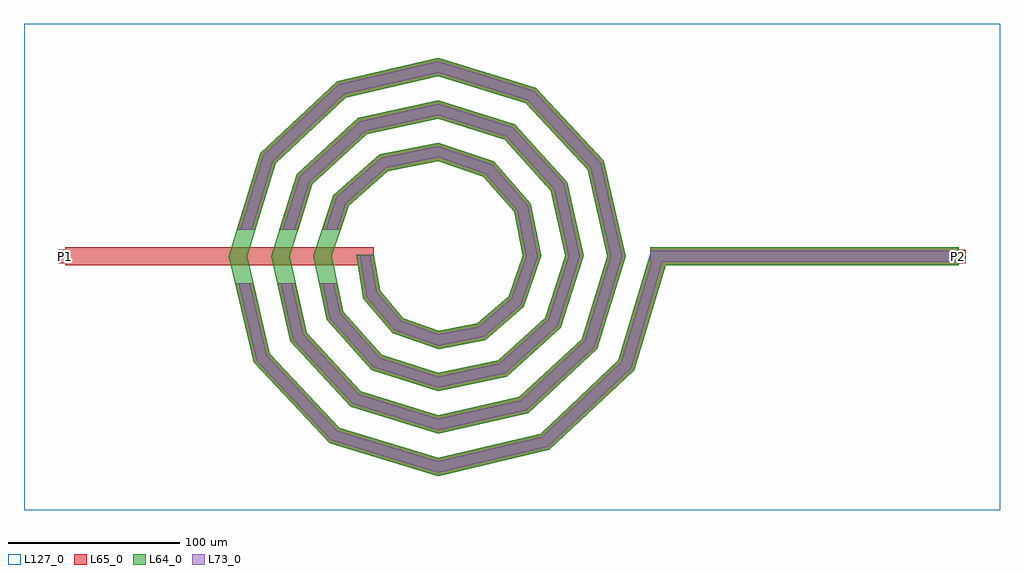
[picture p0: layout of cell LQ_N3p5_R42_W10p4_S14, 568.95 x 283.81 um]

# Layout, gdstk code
import gdstk
lib = gdstk.Library(unit=1e-6, precision=1e-09)
def R(c, l, rs):  # rectangles x0, y0, x1, y1
    for r in rs: c.add(gdstk.rectangle(r[:2], r[2:], *l))
def P(c, l, *ps):  # polygons
    for p in ps: c.add(gdstk.Polygon(p, *l))
L64_0 = (64, 0)
L65_0 = (65, 0)
L73_0 = (73, 0)
L127_0 = (127, 0)

lq_n3p5_r42_w10p4_s14 = lib.new_cell('LQ_N3p5_R42_W10p4_S14')
R(lq_n3p5_r42_w10p4_s14, L64_0, [(123.665,-5.2,303.665,5.2)])
P(lq_n3p5_r42_w10p4_s14, L64_0, [(-33.694,-19.987),(-20.231,-35.926),(0.424,-43.284),(23.022,-39.062),(41.241,-23.359),(49.451,0.376),(44.425,26.068),(26.478,46.562),(0.338,55.619),(-29.121,49.785),(-51.888,29.591),(-61.788,0.307),(-55.142,-32.18),(-32.699,-57.216),(0.281,-67.957),(35.244,-60.496),(62.547,-35.804),(74.126,0.26),(65.849,38.31),(38.906,67.88),(0.241,80.295),(-41.38,71.201),(-73.215,42.005),(-86.465,0.225),(-76.552,-44.451),(-45.103,-78.551),(0.211,-92.635),(47.524,-81.902),(83.887,-48.199),(98.804,0.198),(87.251,50.599),(51.294,89.225),(0.187,104.974),(-53.675,92.6),(-94.563,54.388),(-111.144,0.177),(-97.948,-56.751),(-57.48,-99.901),(0.168,-117.314),(59.829,-103.295),(105.241,-60.573),(123.885,1.496),(133.846,-1.496),(114.399,-66.236),(64.923,-112.781),(0.168,-128.076),(-63.158,-109.051),(-107.442,-61.831),(-121.906,0.177),(-103.702,60.081),(-58.737,102.103),(0.187,115.736),(57.005,98.353),(96.765,55.643),(109.565,0.198),(93.004,-53.929),(52.547,-91.427),(0.211,-103.395),(-50.855,-87.653),(-86.09,-49.45),(-97.224,0.225),(-82.302,47.783),(-46.351,80.753),(0.241,91.053),(44.712,76.949),(75.418,43.25),(84.882,0.26),(71.595,-41.643),(40.147,-70.084),(0.281,-78.711),(-38.578,-66.24),(-64.752,-37.04),(-72.54,0.307),(-60.881,35.516),(-33.929,59.422),(0.338,66.368),(32.458,55.52),(54.094,30.813),(60.196,0.376),(50.154,-29.408),(27.688,-48.77),(0.424,-54.022),(-26.365,-44.781),(-43.451,-24.552),(-47.605,0.899),(-37.361,0.899)])
R(lq_n3p5_r42_w10p4_s14, L65_0, [(-217.283,-5.2,-37.283,5.2), (123.665,-5.2,303.665,5.2), (-221.283,-4,-213.283,4), (299.665,-4,307.665,4)])
P(lq_n3p5_r42_w10p4_s14, L65_0, [(-97.948,-56.751),(-57.481,-99.902),(0.168,-117.314),(59.829,-103.295),(105.241,-60.573),(123.885,1.496),(133.846,-1.496),(114.399,-66.236),(64.923,-112.782),(0.168,-128.077),(-63.158,-109.051),(-107.442,-61.831),(-118.226,-15.6),(-107.547,-15.6)],
  [(-76.552,-44.451),(-45.103,-78.551),(0.211,-92.635),(47.524,-81.902),(83.887,-48.199),(98.805,0.198),(87.251,50.599),(51.294,89.225),(0.187,104.974),(-53.675,92.6),(-94.563,54.388),(-106.35,15.6),(-117.219,15.6),(-103.702,60.081),(-58.737,102.103),(0.187,115.736),(57.005,98.353),(96.765,55.643),(109.565,0.198),(93.004,-53.929),(52.547,-91.427),(0.211,-103.395),(-50.855,-87.653),(-86.09,-49.45),(-93.677,-15.6),(-83.019,-15.6)],
  [(-55.142,-32.18),(-32.7,-57.216),(0.282,-67.957),(35.244,-60.496),(62.547,-35.804),(74.126,0.26),(65.849,38.311),(38.906,67.88),(0.241,80.296),(-41.38,71.201),(-73.215,42.005),(-81.5,15.6),(-92.4,15.6),(-82.302,47.783),(-46.351,80.753),(0.241,91.053),(44.712,76.95),(75.418,43.25),(84.882,0.26),(71.595,-41.643),(40.147,-70.084),(0.282,-78.711),(-38.578,-66.24),(-64.752,-37.04),(-69.223,-15.6),(-58.599,-15.6)],
  [(-20.231,-35.926),(0.424,-43.284),(23.022,-39.062),(41.241,-23.359),(49.451,0.376),(44.425,26.068),(26.479,46.562),(0.338,55.619),(-29.121,49.785),(-51.888,29.591),(-56.521,15.6),(-67.476,15.6),(-60.881,35.516),(-33.929,59.422),(0.338,66.368),(32.458,55.52),(54.094,30.813),(60.196,0.376),(50.154,-29.408),(27.688,-48.77),(0.424,-54.022),(-26.365,-44.781),(-43.451,-24.552),(-47.605,0.899),(-37.362,0.899),(-33.694,-19.987)])
R(lq_n3p5_r42_w10p4_s14, L73_0, [(123.665,-3.2,303.665,3.2)])
P(lq_n3p5_r42_w10p4_s14, L73_0, [(-99.774,-57.728),(-58.572,-101.661),(0.104,-119.384),(60.809,-105.12),(107.002,-61.662),(125.801,0.921),(131.93,0.921),(112.637,-65.147),(63.944,-110.957),(0.104,-126.007),(-62.066,-107.291),(-105.616,-60.854),(-116.172,-15.6),(-109.6,-15.6)],
  [(-78.386,-45.413),(-46.209,-80.301),(0.13,-94.704),(48.49,-83.734),(85.64,-49.301),(100.874,0.122),(89.081,51.569),(52.392,90.98),(0.115,107.044),(-54.648,94.427),(-96.32,55.482),(-108.44,15.6),(-115.129,15.6),(-101.945,58.986),(-57.764,100.276),(0.115,113.666),(55.906,96.598),(94.935,54.673),(107.496,0.122),(91.251,-52.827),(51.581,-89.595),(0.13,-101.325),(-49.749,-85.903),(-84.255,-48.489),(-91.627,-15.6),(-85.068,-15.6)],
  [(-56.99,-33.115),(-33.83,-58.952),(0.173,-70.025),(36.187,-62.34),(64.287,-36.927),(76.195,0.16),(67.69,39.26),(40.022,69.624),(0.148,82.364),(-42.336,73.038),(-74.962,43.116),(-83.596,15.6),(-90.304,15.6),(-80.555,46.672),(-45.395,78.916),(0.148,88.984),(43.595,75.205),(73.578,42.3),(82.814,0.16),(69.855,-40.52),(39.204,-68.24),(0.173,-76.643),(-37.447,-64.504),(-62.904,-36.106),(-67.18,-15.6),(-60.642,-15.6)],
  [(-21.411,-37.629),(0.261,-45.349),(23.919,-40.929),(42.955,-24.522),(51.518,0.232),(46.285,26.98),(27.629,48.285),(0.208,57.686),(-30.046,51.638),(-53.617,30.731),(-58.627,15.6),(-65.369,15.6),(-59.152,34.376),(-33.005,57.568),(0.208,64.301),(31.308,53.797),(52.235,29.9),(58.129,0.232),(48.44,-28.244),(26.791,-46.903),(0.261,-51.957),(-25.186,-43.078),(-41.575,-23.675),(-45.635,0.553),(-39.331,0.553),(-35.57,-20.865)])
R(lq_n3p5_r42_w10p4_s14, L127_0, [(-241.283,-148.077,327.665,135.736)])
lq_n3p5_r42_w10p4_s14.add(gdstk.Label('P2', (303.665,0), layer=65, texttype=0))
lq_n3p5_r42_w10p4_s14.add(gdstk.Label('P1', (-217.283,0), layer=65, texttype=0))
lq_n3p5_r42_w10p4_s14.add(gdstk.Label('P2', (307.665,0), layer=145, texttype=0))
lq_n3p5_r42_w10p4_s14.add(gdstk.Label('P1', (-221.283,0), layer=145, texttype=0))

lib.write_gds('LQ_N3p5_R42_W10p4_S14.gds')
